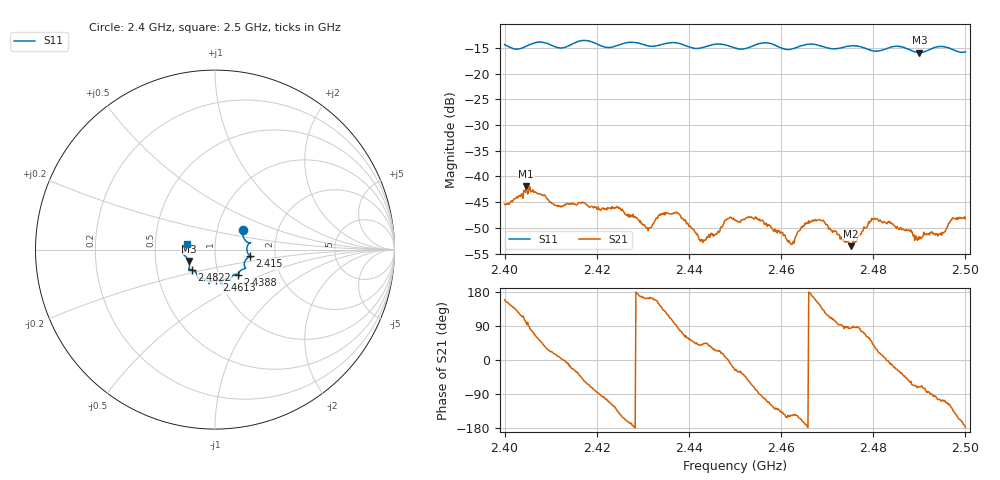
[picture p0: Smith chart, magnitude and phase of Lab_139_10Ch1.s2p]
# Hz S RI R 50
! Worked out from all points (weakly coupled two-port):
!   601 points, 2.4 GHz to 2.5 GHz, reference 50 ohm
!   highest |S21| = -41.85 dB at 2.4047 GHz (marker M1); lowest = -53.6 dB at 2.4752 GHz (marker M2)
!   lowest |S11| = -15.9 dB at 2.49 GHz (marker M3), VSWR 1.38, Z = 37 - j4.84 ohm
!   |S11| at or under -10 dB: start of sweep to end of sweep
!   S12 and S22 are empty: the file has one direction only
!   S11 on the Smith chart (normalised r, x): 2.4 GHz: 1.33, +0.31; 2.415 GHz: 1.47, -0.11; 2.4388 GHz: 1.24, -0.36; 2.4613 GHz: 0.96, -0.34; 2.4822 GHz: 0.76, -0.17; 2.5 GHz: 0.72, +0.05
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2.4e9  0.1554 0.1112  -0.005 0.00191  0 0  0 0
2.404667e9  0.1797 0.0417  -0.00115 0.008  0 0  0 0
2.411333e9  0.1788 0.0158  0.00505 0.00104  0 0  0 0
2.415e9  0.1933 -0.0347  0.00493 -0.00233  0 0  0 0
2.416667e9  0.2046 -0.042  0.00384 -0.00392  0 0  0 0
2.424667e9  0.1642 -0.0927  -0.00354 -0.00339  0 0  0 0
2.431167e9  0.1461 -0.1142  -0.00283 0.000897  0 0  0 0
2.433333e9  0.1325 -0.1325  -0.00349 0.00205  0 0  0 0
2.438833e9  0.1289 -0.1394  0.0015 0.00349  0 0  0 0
2.443e9  0.0905 -0.1542  0.0017 0.00151  0 0  0 0
2.45e9  0.0684 -0.1634  0.00332 -0.00167  0 0  0 0
2.454833e9  0.0349 -0.1893  0.000565 -0.00387  0 0  0 0
2.461333e9  0.00774 -0.1709  -0.00212 -0.00111  0 0  0 0
2.462333e9  -0.00726 -0.1726  -0.00182 -0.00122  0 0  0 0
2.466667e9  -0.0338 -0.1903  -0.00357 0.000707  0 0  0 0
2.469e9  -0.0362 -0.1795  -0.00253 0.00273  0 0  0 0
2.475167e9  -0.0924 -0.1611  0.000235 0.00208  0 0  0 0
2.479833e9  -0.1055 -0.1287  0.00282 0.00257  0 0  0 0
2.482167e9  -0.1281 -0.1118  0.00354 0.00059  0 0  0 0
2.483333e9  -0.1395 -0.1101  0.00358 -0.000234  0 0  0 0
2.49e9  -0.1465 -0.0638  0.000789 -0.00233  0 0  0 0
2.5e9  -0.1586 0.0338  -0.00386 -0.000169  0 0  0 0
